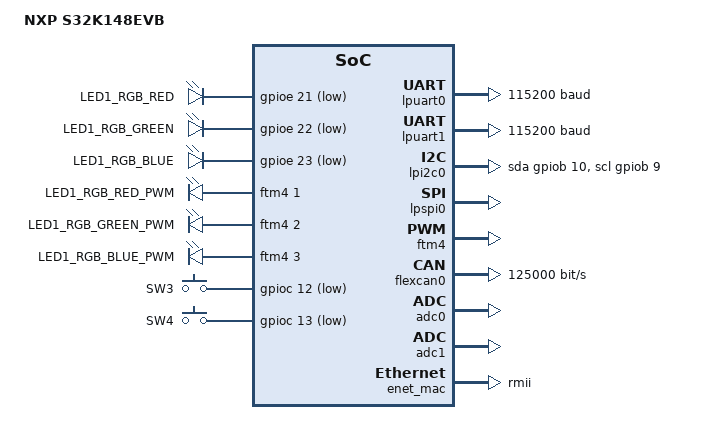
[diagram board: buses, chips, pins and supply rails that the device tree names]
/*
 * Copyright 2023 NXP
 *
 * SPDX-License-Identifier: Apache-2.0
 */

/dts-v1/;
#include <zephyr/dt-bindings/gpio/gpio.h>
#include <zephyr/dt-bindings/input/input-event-codes.h>
#include <zephyr/dt-bindings/pwm/pwm.h>
#include <arm/nxp/nxp_s32k148.dtsi>
#include "s32k148_evb-pinctrl.dtsi"

/ {
	model = "NXP S32K148EVB";
	compatible = "nxp,s32k148_evb";

	chosen {
		zephyr,sram = &sram_l;
        	zephyr,flash-controller = &flash0;
		zephyr,flash = &flash0;
		zephyr,console = &lpuart1;
		zephyr,shell-uart = &lpuart1;
		zephyr,uart-pipe = &lpuart1;
		zephyr,canbus = &flexcan0;
        	zephyr,code-partition = &slot0_partition;
	};

	aliases {
		led0 = &led1_red;
		led1 = &led1_green;
		led2 = &led1_blue;
		pwm-led0 = &led1_red_pwm;
		pwm-led1 = &led1_green_pwm;
		pwm-led2 = &led1_blue_pwm;
		red-pwm-led = &led1_red_pwm;
		green-pwm-led = &led1_green_pwm;
		blue-pwm-led = &led1_blue_pwm;
		sw0 = &button_3;
		sw1 = &button_4;
		i2c-0 = &lpi2c0;
	};

	leds {
		compatible = "gpio-leds";

		led1_red: led_0 {
			gpios = <&gpioe 21 GPIO_ACTIVE_LOW>;
			label = "LED1_RGB_RED";
		};

		led1_green: led_1 {
			gpios = <&gpioe 22 GPIO_ACTIVE_LOW>;
			label = "LED1_RGB_GREEN";
		};

		led1_blue: led_2 {
			gpios = <&gpioe 23 GPIO_ACTIVE_LOW>;
			label = "LED1_RGB_BLUE";
		};
	};

	pwmleds {
		compatible = "pwm-leds";

		led1_red_pwm: led_pwm_0 {
			pwms = <&ftm4 1 PWM_MSEC(20) PWM_POLARITY_INVERTED>;
			label = "LED1_RGB_RED_PWM";
		};

		led1_green_pwm: led_pwm_1 {
			pwms = <&ftm4 2 PWM_MSEC(20) PWM_POLARITY_INVERTED>;
			label = "LED1_RGB_GREEN_PWM";
		};

		led1_blue_pwm: led_pwm_2 {
			pwms = <&ftm4 3 PWM_MSEC(20) PWM_POLARITY_INVERTED>;
			label = "LED1_RGB_BLUE_PWM";
		};
	};

	gpio_keys {
		compatible = "gpio-keys";

		button_3: button_0 {
			label = "SW3";
			gpios = <&gpioc 12 GPIO_ACTIVE_LOW>;
			zephyr,code = <INPUT_KEY_0>;
		};

		button_4: button_1 {
			label = "SW4";
			gpios = <&gpioc 13 GPIO_ACTIVE_LOW>;
			zephyr,code = <INPUT_KEY_1>;
		};
	};
};

/* Bind the internal program flash array as the driver device */
&flash0 {
    compatible = "nxp,s32k1xx-flash";
    reg = <0x00000000 DT_SIZE_K(1536)>;   /* mapped base 0x0, size 2 MB */
    erase-block-size = <4096>;       /* 4 KB sector */
    write-block-size = <8>;          /* 8-byte phrase */
    status = "okay";

    partitions {
        compatible = "fixed-partitions";
        #address-cells = <1>;
        #size-cells = <1>;

        boot_partition: boot_partition@0 {
            label = "mcuboot";
            reg = <0x00000000 0x00020000>; /* 128 KB */
        };

        slot0_partition: image-0@20000 {
            label = "image-0";
            reg = <0x00020000 0x00080000>; /* 512 KB */
        };

        slot1_partition: image-1@A0000 {
            label = "image-1";
            reg = <0x000A0000 0x00080000>; /* 512 KB */
        };

        scratch_partition: scratch@120000 {
            label = "scratch";
            reg = <0x00120000 0x00008000>; /* 32 KB */
        };

        storage_partition: storage@128000 {
            label = "storage";
            reg = <0x00128000 0x000F0000>; /* ~960 KB */
        };
    };
};

&cpu0 {
	clock-frequency = <80000000>;
};

&gpioa {
	status = "okay";
};

&gpiob {
	status = "okay";
};

&gpioc {
	status = "okay";
};

&gpiod {
	status = "okay";
};

&gpioe {
	status = "okay";
};

&lpuart0 {
	pinctrl-0 = <&lpuart0_default>;
	pinctrl-names = "default";
	current-speed = <115200>;
};

&lpuart1 {
	pinctrl-0 = <&lpuart1_default>;
	pinctrl-names = "default";
	current-speed = <115200>;
	status = "okay";
};

&lpi2c0 {
	pinctrl-0 = <&lpi2c0_default>;
	pinctrl-names = "default";
	scl-gpios = <&gpiob 9 GPIO_ACTIVE_HIGH>;
	sda-gpios = <&gpiob 10 GPIO_ACTIVE_HIGH>;
	status = "okay";
};

&lpspi0 {
	pinctrl-0 = <&lpspi0_default>;
	pinctrl-names = "default";
	status = "okay";
};

&ftm4 {
	compatible = "nxp,ftm-pwm";
	pinctrl-0 = <&ftm4_default>;
	pinctrl-names = "default";
	clock-source = "system";
	prescaler = <4>;
	#pwm-cells = <3>;
	status = "okay";
};

/*
 * The S32K148EVB board contains a UJA1132 SBC which needs to be configured via SPI.
 * The factory preset forces it to normal mode though, so the CAN phy is enabled
 * even without configuration.
 * Therefore, we don't reference a can phy driver node here for now.
 */
&flexcan0 {
	pinctrl-0 = <&flexcan0_default>;
	pinctrl-names = "default";
	bitrate = <125000>;
	status = "okay";
};

&adc0 {
	sample-time = <65>;
	vref-mv = <5000>;
	status = "okay";
};

&adc1 {
	sample-time = <65>;
	vref-mv = <5000>;
	status = "okay";
};

&enet_mac {
	pinctrl-0 = <&pinmux_enet>;
	pinctrl-names = "default";
	zephyr,random-mac-address;
	phy-connection-type = "rmii";
};

&enet_mdio {
	pinctrl-0 = <&pinmux_enet_mdio>;
	pinctrl-names = "default";
};
